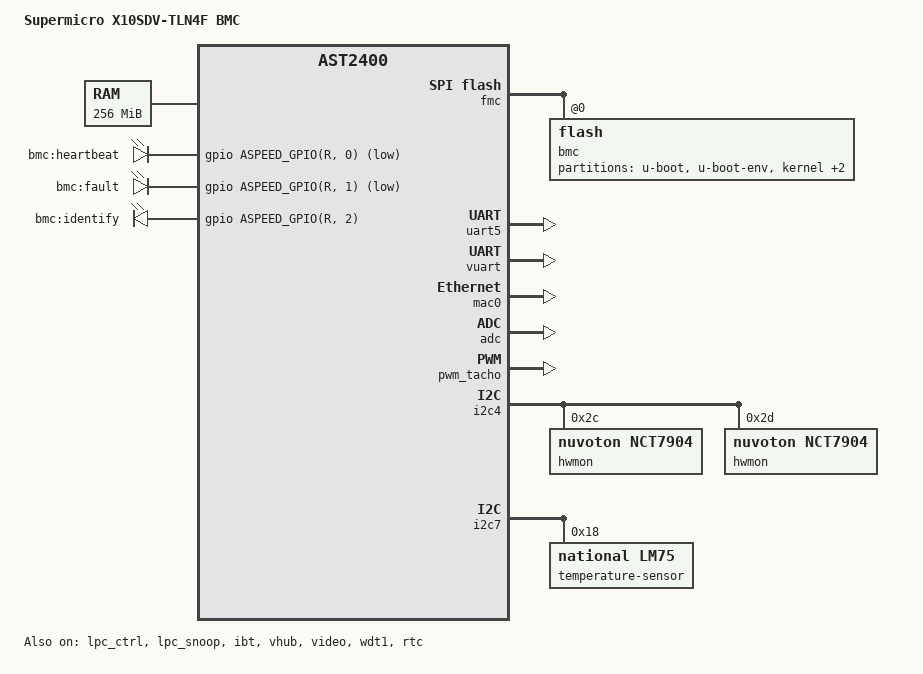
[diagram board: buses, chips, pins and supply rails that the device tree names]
// SPDX-License-Identifier: GPL-2.0+
/*
 * DRAFT OpenBMC device tree for Supermicro X10SDV-TLN4F (ASPEED AST2400).
 * Forked from the aspeed-g4 reference style (palmetto). Devices marked
 * CONFIRMED were recovered from the live board (see ../FEASIBILITY.md);
 * everything marked PLACEHOLDER / TODO needs the schematic or first-boot
 * inspection. Compile-test only:  make aspeed-bmc-supermicro-x10sdv-tln4f.dtb
 */

/dts-v1/;

#include "aspeed-g4.dtsi"
#include <dt-bindings/gpio/aspeed-gpio.h>

/ {
	model = "Supermicro X10SDV-TLN4F BMC";
	compatible = "supermicro,x10sdv-tln4f-bmc", "aspeed,ast2400";

	aliases {
		serial4 = &uart5;
	};

	chosen {
		stdout-path = &uart5;
		bootargs = "console=ttyS4,115200 earlyprintk";
	};

	memory@40000000 {
		/* AST2400 DRAM. Size PLACEHOLDER — OpenBMC u-boot auto-sizes the
		 * SDRAM controller, so this is informational. Vendor likely 256MB. */
		reg = <0x40000000 0x10000000>;
	};

	reserved-memory {
		#address-cells = <1>;
		#size-cells = <1>;
		ranges;

		/* KVM / iKVM video capture engine scratch buffers */
		video_engine_memory: video {
			size = <0x02000000>;	/* 32M — tune later */
			alignment = <0x01000000>;
			compatible = "shared-dma-pool";
			reusable;
		};
	};

	leds {
		compatible = "gpio-leds";
		/* Signals CONFIRMED from MNL-1726; GPIO lines are PLACEHOLDER
		 * (manual gives header pinouts, not BMC GPIO numbers). */

		heartbeat {	/* BMC Heartbeat LED = LEDM1 (green blink = normal) */
			label = "bmc:heartbeat";
			gpios = <&gpio ASPEED_GPIO(R, 0) GPIO_ACTIVE_LOW>;
		};
		fault {		/* OH/Fan-Fail/PWR-Fail LED = JF1 pin 8 (red) */
			label = "bmc:fault";
			gpios = <&gpio ASPEED_GPIO(R, 1) GPIO_ACTIVE_LOW>;
		};
		identify {	/* UID LED = JF1 pin 7 (blue) + rear LED7 */
			label = "bmc:identify";
			gpios = <&gpio ASPEED_GPIO(R, 2) GPIO_ACTIVE_HIGH>;
		};
	};

	/* iKVM USB keyboard/mouse + virtual media live on the vhub (below). */
};

/* ---- Boot SPI flash (FMC). 32 MiB. OpenBMC layout, NOT the vendor map. ---- */
&fmc {
	status = "okay";
	flash@0 {
		status = "okay";
		m25p,fast-read;
		label = "bmc";
		#address-cells = <1>;
		#size-cells = <1>;

		partitions {
			compatible = "fixed-partitions";
			#address-cells = <1>;
			#size-cells = <1>;

			/* MUST match the FLASH_*_OFFSET layout in x10sdv-tln4f.conf:
			 * kernel @512KiB, rofs @5248KiB, rwfs @31232KiB, end @32MiB.
			 * The initramfs mounts rofs/rwfs by these labels, so a
			 * mismatch panics at boot. Update both together. */
			u-boot@0      { reg = <0x000000 0x060000>; label = "u-boot"; };
			u-boot-env@60000 { reg = <0x060000 0x020000>; label = "u-boot-env"; };
			kernel@80000  { reg = <0x080000 0x4a0000>;  label = "kernel"; };
			rofs@520000   { reg = <0x520000 0x1960000>; label = "rofs"; };
			rwfs@1e80000  { reg = <0x1e80000 0x180000>; label = "rwfs"; };
		};
	};
};

/* ---- Console UART (SoL routed via vuart to host) ---- */
&uart5 {
	status = "okay";
};

&vuart {
	status = "okay";
};

/* ---- BMC Ethernet. TLN4F has a dedicated BMC LAN + NC-SI sideband. ---- */
&mac0 {
	status = "okay";
	/* TODO confirm: RMII to a dedicated PHY, or NC-SI sideband to the host
	 * X552/I350. Vendor used ftgmac (CONFIRMED driver). PHY mode PLACEHOLDER. */
	use-ncsi;
	pinctrl-names = "default";
	pinctrl-0 = <&pinctrl_rmii1_default>;
};

/* ---- ADC: 8 rails sensed. Scaling derived in sdr-decoded.txt. ---- */
&adc {
	status = "okay";	/* CONFIRMED in use (adc_drv.ko). Vref ~2.5V. */
	/* Per-channel rail assignment (which iio channel = which rail) is
	 * PLACEHOLDER — see X10SDV-TLN4F.json ScaleFactors. */
};

/* ---- Fans: PWM/tach. 4 headers (FAN1-4), 2 populated live. ---- */
&pwm_tacho {
	status = "okay";	/* CONFIRMED (ast_pwm_fan.ko). */
	pinctrl-names = "default";
	pinctrl-0 = <&pinctrl_pwm0_default &pinctrl_pwm1_default
		     &pinctrl_pwm2_default &pinctrl_pwm3_default>;

	/* PWM channel <-> tach channel mapping PLACEHOLDER (1:1 assumed). */
	fan@0 { reg = <0x00>; aspeed,fan-tach-ch = /bits/ 8 <0x00>; };
	fan@1 { reg = <0x01>; aspeed,fan-tach-ch = /bits/ 8 <0x01>; };
	fan@2 { reg = <0x02>; aspeed,fan-tach-ch = /bits/ 8 <0x02>; };
	fan@3 { reg = <0x03>; aspeed,fan-tach-ch = /bits/ 8 <0x03>; };
};

/* ---- I2C4: device pair @0x2c/0x2d. CONFIRMED present (2/2 probes). ---- */
&i2c4 {
	status = "okay";

	/* 0x2c / 0x2d — chip identity UNCONFIRMED. Per MNL-1726 the AST2400 is
	 * the health monitor and voltages come from its ADC, so these are NOT the
	 * voltage source. Hypothesis: X552 10G SMBus / a temp source (MB_10G Temp).
	 * Replace compatible once a chip-ID read or schematic confirms. */
	hwmon@2c {
		compatible = "nuvoton,nct7904";	/* PLACEHOLDER — verify */
		reg = <0x2c>;
	};
	hwmon@2d {
		compatible = "nuvoton,nct7904";	/* PLACEHOLDER — verify */
		reg = <0x2d>;
	};
};

/* ---- I2C7: temperature sensor. Real but intermittent (bus contention). ---- */
&i2c7 {
	status = "okay";

	/* 0x18 — lm75/tmp75-class. Chip UNCONFIRMED; likely a board temp
	 * (System / Peripheral / MB_10G). */
	temperature-sensor@18 {
		compatible = "national,lm75";	/* PLACEHOLDER — verify (tmp75?) */
		reg = <0x18>;
	};
};

/* ---- Host interface: in-band IPMI over LPC. ----
 * AST2400 (aspeed-g4) exposes BT (ibt) natively; KCS channels are NOT
 * predefined in aspeed-g4.dtsi (unlike g5). Every g4 reference board
 * (palmetto, quanta-q71l) uses BT, so we use it for a known-good first
 * boot. NOTE: the vendor AMI firmware used KCS (kcs_drv.ko). Revisit on
 * the bench board: confirm the real host interface + register/IO map from
 * the schematic, and switch to a KCS node + phosphor-ipmi-kcs if needed. */
&lpc_ctrl {
	status = "okay";
};

&lpc_snoop {
	status = "okay";
	snoop-ports = <0x80>;	/* POST code snoop */
};

&ibt {
	status = "okay";	/* BMC<->host IPMI BT channel */
};

/* ---- iKVM: USB vhub (HID + virtual media) + video capture engine ---- */
&vhub {
	status = "okay";	/* usb_hid.ko / ikvm_vmass.ko */
};

&video {
	status = "okay";	/* video_drv.ko; aspeed-video */
	memory-region = <&video_engine_memory>;
};

/* ---- Misc SoC blocks the vendor used ---- */
&wdt1 {
	status = "okay";	/* wdt_drv.ko */
};

&rtc {
	status = "okay";
};

&gpio {
	status = "okay";
	/* Signal functions CONFIRMED from MNL-1726; AST2400 GPIO line numbers
	 * are PLACEHOLDER — recover from schematic or live /sys/class/gpio:
	 *   - Power Button         (JF1)            input
	 *   - Reset Button         (JF1)            input
	 *   - Chassis Intrusion    (JL1 pin 2)      input  -> "Chassis Intru" sensor
	 *   - UID Switch           (JUIDB1 / JF1)   input
	 *   - Power-good / NMI / PSU presence       input  (TBD)
	 * SGPIO drive-LED streams on I-SGPIO1/2 (separate sgpio controller). */
};
